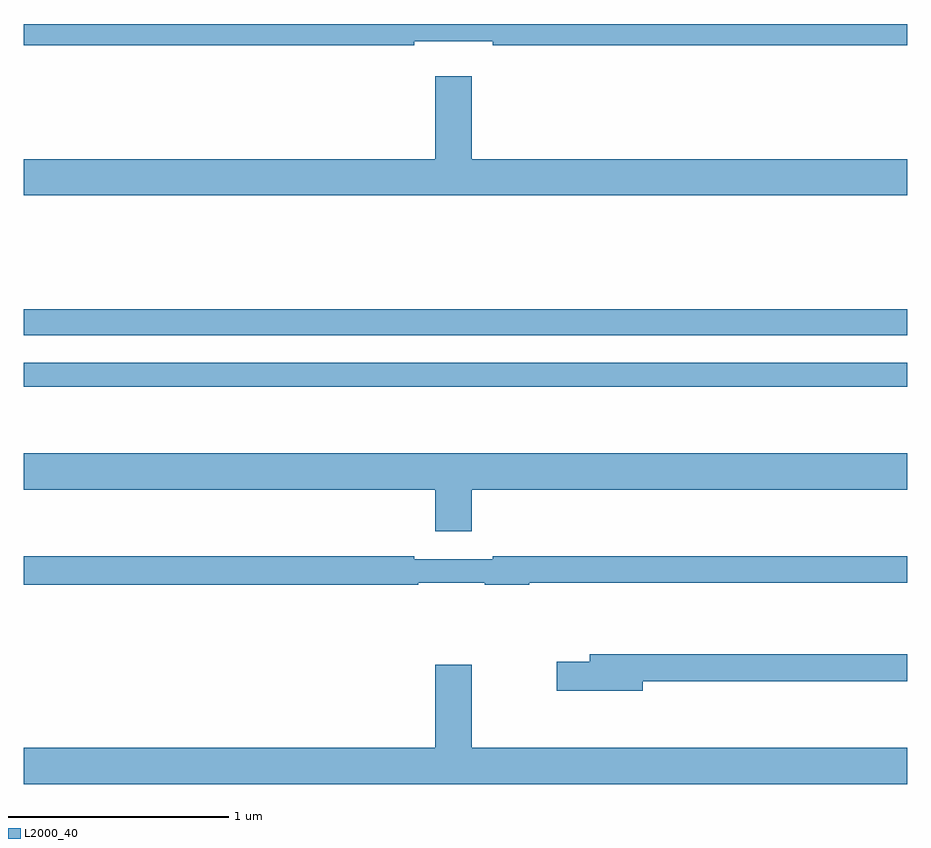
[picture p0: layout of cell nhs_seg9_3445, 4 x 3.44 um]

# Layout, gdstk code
import gdstk
lib = gdstk.Library(unit=1e-6, precision=1e-09)
def R(c, l, rs):  # rectangles x0, y0, x1, y1
    for r in rs: c.add(gdstk.rectangle(r[:2], r[2:], *l))
def P(c, l, *ps):  # polygons
    for p in ps: c.add(gdstk.Polygon(p, *l))
L2000_40 = (2000, 40)

nhs_seg9_3445 = lib.new_cell('nhs_seg9_3445')
R(nhs_seg9_3445, L2000_40, [(307,1224.858,311,1224.966), (307,1225.092,311,1225.208)])
P(nhs_seg9_3445, L2000_40, [(308.768,1226.423),(309.124,1226.423),(309.124,1226.404),(311,1226.404),(311,1226.5),(307,1226.5),(307,1226.404),(308.768,1226.404)],
  [(311,1225.888),(309.028,1225.888),(309.028,1226.263),(308.864,1226.263),(308.864,1225.888),(307,1225.888),(307,1225.724),(311,1225.724)],
  [(309.028,1224.392),(311,1224.392),(311,1224.556),(307,1224.556),(307,1224.392),(308.864,1224.392),(308.864,1224.204),(309.028,1224.204)],
  [(308.786,1223.97),(309.086,1223.97),(309.086,1223.962),(309.289,1223.962),(309.289,1223.97),(311,1223.97),(311,1224.091),(309.124,1224.091),(309.124,1224.078),(308.768,1224.078),(308.768,1224.091),(307,1224.091),(307,1223.962),(308.786,1223.962)],
  [(309.802,1223.526),(311,1223.526),(311,1223.647),(309.563,1223.647),(309.563,1223.613),(309.414,1223.613),(309.414,1223.483),(309.802,1223.483)],
  [(311,1223.224),(309.028,1223.224),(309.028,1223.599),(308.864,1223.599),(308.864,1223.224),(307,1223.224),(307,1223.06),(311,1223.06)])

lib.write_gds('nhs_seg9_3445.gds')
